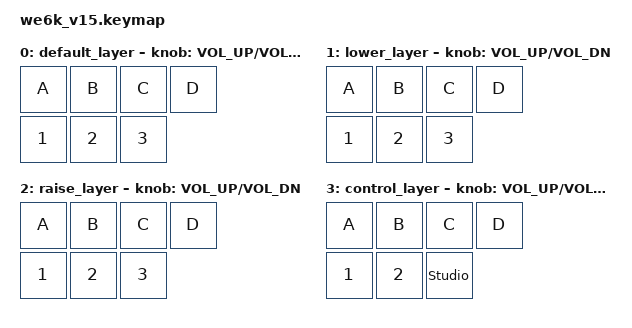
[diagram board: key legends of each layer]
/*
 * Copyright (c) 2021 The ZMK Contributors
 *
 * SPDX-License-Identifier: MIT
 */

#include <behaviors.dtsi>
#include <dt-bindings/zmk/keys.h>
#include <dt-bindings/zmk/bt.h>
#include <dt-bindings/zmk/outputs.h>

#define DEFAULT 0
#define LOWER   1
#define RAISE   2
#define CONTROL 3

/ {
    keymap {
        compatible = "zmk,keymap";

        default_layer {
            bindings = <
                &kp A   &kp B   &kp C   &kp D
                &kp 1   &kp 2   &kp 3
            >;
            sensor-bindings = <&inc_dec_kp C_VOL_UP C_VOL_DN>;
        };

        lower_layer {
            bindings = <
                &kp A   &kp B   &kp C   &kp D
                &kp 1   &kp 2   &kp 3
            >;
            sensor-bindings = <&inc_dec_kp C_VOL_UP C_VOL_DN>;
        };

        raise_layer {
            bindings = <
                &kp A   &kp B   &kp C   &kp D
                &kp 1   &kp 2   &kp 3
            >;
            sensor-bindings = <&inc_dec_kp C_VOL_UP C_VOL_DN>;
        };

        control_layer {
            bindings = <
                &kp A   &kp B   &kp C   &kp D
                &kp 1   &kp 2   &studio_unlock
            >;
            sensor-bindings = <&inc_dec_kp C_VOL_UP C_VOL_DN>;
        };
    };
};

